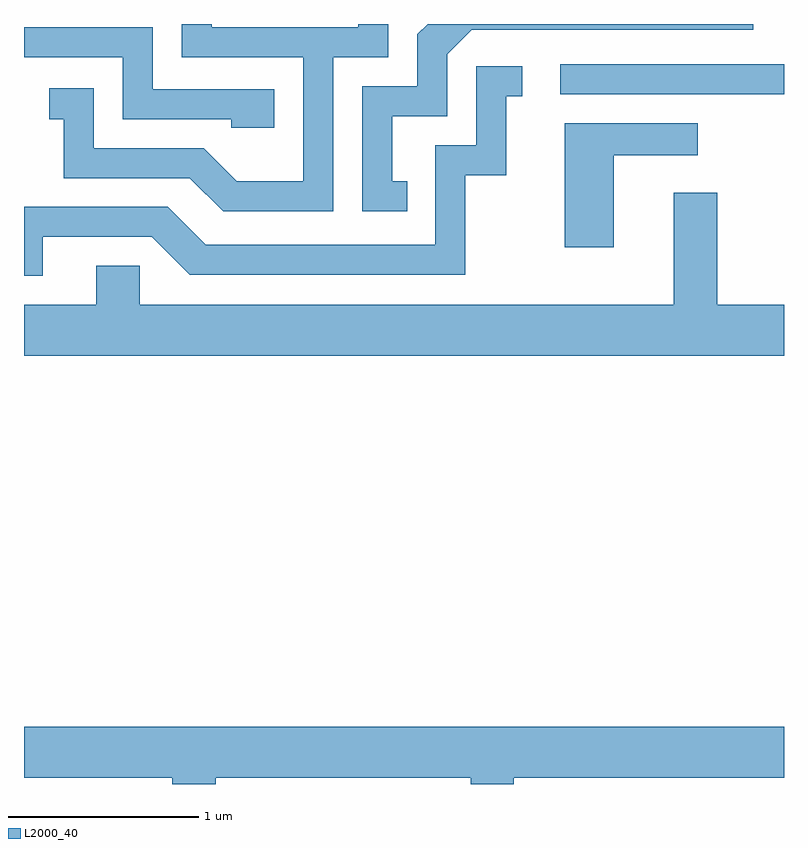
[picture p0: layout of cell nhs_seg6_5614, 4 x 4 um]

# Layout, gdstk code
import gdstk
lib = gdstk.Library(unit=1e-6, precision=1e-09)
def R(c, l, rs):  # rectangles x0, y0, x1, y1
    for r in rs: c.add(gdstk.rectangle(r[:2], r[2:], *l))
def P(c, l, *ps):  # polygons
    for p in ps: c.add(gdstk.Polygon(p, *l))
L2000_40 = (2000, 40)

nhs_seg6_5614 = lib.new_cell('nhs_seg6_5614')
R(nhs_seg6_5614, L2000_40, [(358.433,1615.791,359.611,1615.949)])
P(nhs_seg6_5614, L2000_40, [(357.628,1615.334),(357.549,1615.334),(357.549,1615.676),(357.839,1615.676),(357.839,1616.004),(357.967,1616.131),(359.449,1616.131),(359.449,1616.162),(357.736,1616.162),(357.681,1616.107),(357.681,1615.834),(357.391,1615.834),(357.391,1615.176),(357.628,1615.176)],
  [(357.239,1615.986),(357.529,1615.986),(357.529,1616.162),(357.371,1616.162),(357.371,1616.144),(356.599,1616.144),(356.599,1616.162),(356.441,1616.162),(356.441,1615.986),(357.081,1615.986),(357.081,1615.334),(356.732,1615.334),(356.557,1615.509),(355.979,1615.509),(355.979,1615.824),(355.743,1615.824),(355.743,1615.661),(355.821,1615.661),(355.821,1615.351),(356.484,1615.351),(356.659,1615.176),(357.239,1615.176)],
  [(356.929,1615.819),(356.289,1615.819),(356.289,1616.144),(355.611,1616.144),(355.611,1615.986),(356.131,1615.986),(356.131,1615.661),(356.701,1615.661),(356.701,1615.616),(356.929,1615.616)],
  [(355.709,1615.041),(356.284,1615.041),(356.484,1614.841),(357.934,1614.841),(357.934,1615.366),(358.149,1615.366),(358.149,1615.781),(358.233,1615.781),(358.233,1615.939),(357.991,1615.939),(357.991,1615.524),(357.776,1615.524),(357.776,1614.999),(356.567,1614.999),(356.367,1615.199),(355.611,1615.199),(355.611,1614.836),(355.709,1614.836)],
  [(358.714,1615.471),(359.158,1615.471),(359.158,1615.639),(358.456,1615.639),(358.456,1614.986),(358.714,1614.986)],
  [(359.611,1614.684),(359.259,1614.684),(359.259,1615.274),(359.031,1615.274),(359.031,1614.684),(356.219,1614.684),(356.219,1614.889),(355.991,1614.889),(355.991,1614.684),(355.611,1614.684),(355.611,1614.416),(359.611,1614.416)],
  [(356.619,1612.196),(357.961,1612.196),(357.961,1612.162),(358.189,1612.162),(358.189,1612.196),(359.611,1612.196),(359.611,1612.464),(355.611,1612.464),(355.611,1612.196),(356.391,1612.196),(356.391,1612.162),(356.619,1612.162)])

lib.write_gds('nhs_seg6_5614.gds')
